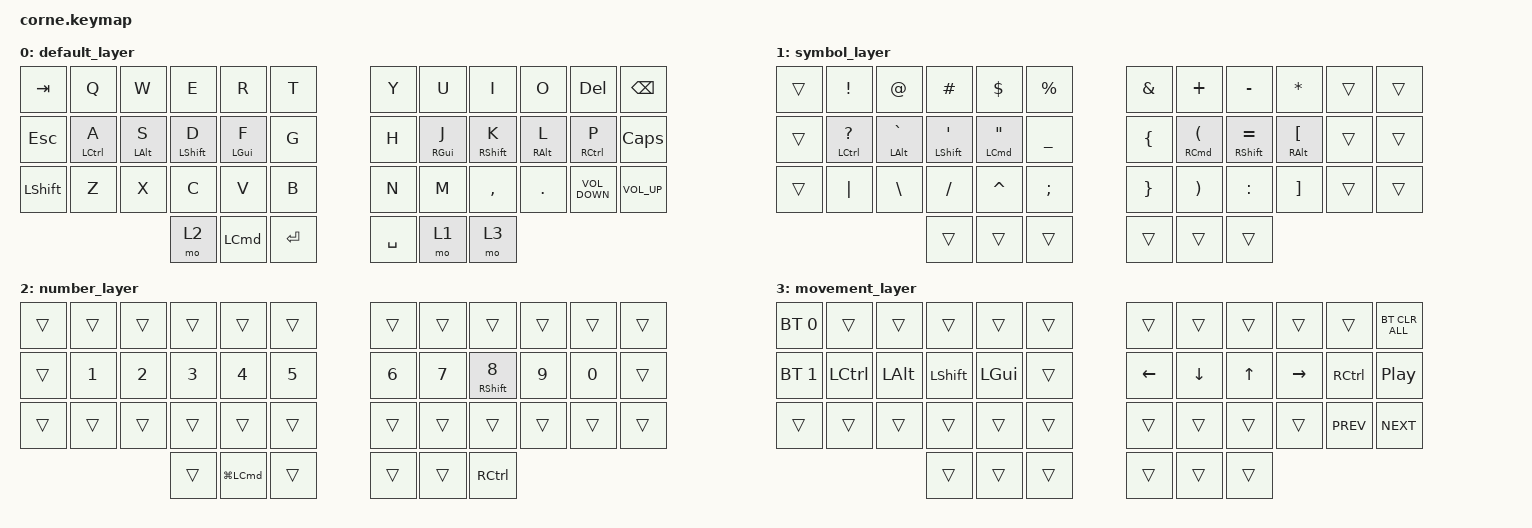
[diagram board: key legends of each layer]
/*
 * Copyright (c) 2020 The ZMK Contributors
 *
 * SPDX-License-Identifier: MIT
 */

#include <behaviors.dtsi>
#include <dt-bindings/zmk/bt.h>
#include <dt-bindings/zmk/keys.h>

/ {
    behaviors {
        hm: homerow_mods {
            compatible = "zmk,behavior-hold-tap";
            #binding-cells = <2>;
            tapping-term-ms = <200>;
            quick-tap-ms = <100>;
            require-prior-idle-ms = <175>;
            flavor = "tap-preferred";
            bindings = <&kp>, <&kp>;
        };
    };

    keymap {
        compatible = "zmk,keymap";

        default_layer {
            // -----------------------------------------------------------------------------------------
            // | TAB |  Q  |  W  |  E  |  R  |  T  |   |  Y  |  U   |  I  |  O  | BKSP | VOL_UP |
            // | ESC |  A  |  S  |  D  |  F  |  G  |   |  H  |  J   |  K  |  L  |  P   |  '     |
            // | F12 |  Z  |  X  |  C  |  V  |  B  |   |  N  |  M   |  ,  |  .  |  /   | VOL_DN |
            //                    |     | LWR | ENT |   | SPC | RSE  |       |

            bindings = <
&kp TAB     &kp Q        &kp W       &kp E         &kp R       &kp T      &kp Y      &kp U       &kp I         &kp O       &kp DELETE         &kp BACKSPACE
&kp ESC     &hm LCTRL A  &hm LALT S  &hm LSHIFT D  &hm LGUI F  &kp G      &kp H      &hm RGUI J  &hm RSHIFT K  &hm RALT L  &hm RCTRL P        &kp CAPS
&kp LSHIFT  &kp Z        &kp X       &kp C         &kp V       &kp B      &kp N      &kp M       &kp COMMA     &kp DOT     &kp C_VOLUME_DOWN  &kp C_VOLUME_UP
                                     &mo 2         &kp LCMD    &kp RET    &kp SPACE  &mo 1       &mo 3
            >;
        };

        symbol_layer {
            // -----------------------------------------------------------------------------------------
            // |  TAB |  1  |  2  |  3  |  4  |  5  |   |  6  |  7  |  8  |  9  |  0  | BKSP |
            // | BTCLR| BT1 | BT2 | BT3 | BT4 | BT5 |   | LFT | DWN |  UP | RGT |     |      |
            // | SHFT |     |     |     |     |     |   |     |     |     |     |     |      |
            //                    | GUI |     | SPC |   | ENT |     | ALT |

            bindings = <
&trans  &kp EXCLAMATION            &kp AT_SIGN     &kp HASH        &kp DLLR                &kp PRCNT         &kp AMPS         &kp PLUS                   &kp MINUS        &kp ASTRK              &trans  &trans
&trans  &mt LEFT_CONTROL QUESTION  &mt LALT GRAVE  &mt LSHIFT SQT  &mt LCMD DOUBLE_QUOTES  &kp UNDERSCORE    &kp LBRC         &mt RCMD LEFT_PARENTHESIS  &mt RSHFT EQUAL  &mt RALT LEFT_BRACKET  &trans  &trans
&trans  &kp PIPE                   &kp BACKSLASH   &kp FSLH        &kp CARET               &kp SEMICOLON     &kp RIGHT_BRACE  &kp RPAR                   &kp COLON        &kp RBKT               &trans  &trans
                                                   &trans          &trans                  &trans            &trans           &trans                     &trans
            >;
        };

        number_layer {
            // -----------------------------------------------------------------------------------------
            // |  TAB |  !  |  @  |  #  |  $  |  %  |   |  ^  |  &  |  *  |  (  |  )  | BKSP |
            // | CTRL |     |     |     |     |     |   |  -  |  =  |  [  |  ]  |  \  |  `   |
            // | SHFT |     |     |     |     |     |   |  _  |  +  |  {  |  }  | "|" |  ~   |
            //                    | GUI |     | SPC |   | ENT |     | ALT |

            bindings = <
&trans  &trans        &trans        &trans        &trans        &trans          &trans        &trans        &trans                    &trans        &trans        &trans
&trans  &kp NUMBER_1  &kp NUMBER_2  &kp NUMBER_3  &kp NUMBER_4  &kp NUMBER_5    &kp NUMBER_6  &kp NUMBER_7  &mt RIGHT_SHIFT NUMBER_8  &kp NUMBER_9  &kp NUMBER_0  &trans
&trans  &trans        &trans        &trans        &trans        &trans          &trans        &trans        &trans                    &trans        &trans        &trans
                                    &trans        &kp LG(LCMD)  &trans          &trans        &trans        &kp RCTRL
            >;
        };

        movement_layer {
            bindings = <
&bt BT_SEL 0  &trans     &trans    &trans     &trans    &trans    &trans          &trans          &trans        &trans           &trans      &bt BT_CLR_ALL
&bt BT_SEL 1  &kp LCTRL  &kp LALT  &kp LSHFT  &kp LGUI  &trans    &kp LEFT_ARROW  &kp DOWN_ARROW  &kp UP_ARROW  &kp RIGHT_ARROW  &kp RCTRL   &kp C_PP
&trans        &trans     &trans    &trans     &trans    &trans    &trans          &trans          &trans        &trans           &kp C_PREV  &kp C_NEXT
                                   &trans     &trans    &trans    &trans          &trans          &trans
            >;
        };
    };
};
